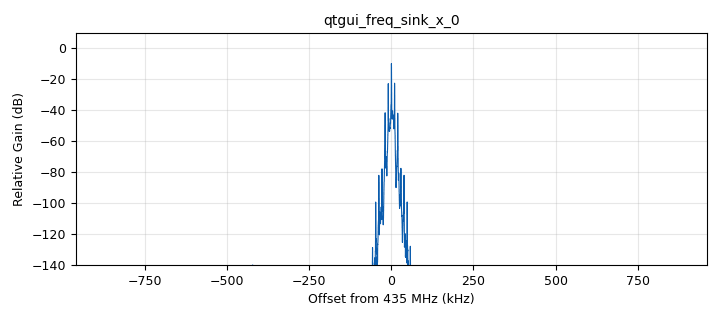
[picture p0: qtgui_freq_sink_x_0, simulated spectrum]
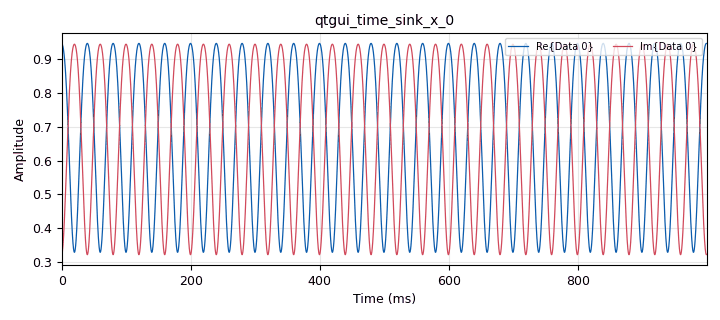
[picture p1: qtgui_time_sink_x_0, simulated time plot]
options:
  parameters:
    generate_options: qt_gui
    id: endurosat_e2e
    output_language: python
    title: Not titled yet
  states: {}

blocks:
- name: baud_bit
  id: variable
  parameters:
    value: '9600'
  states: {}
- name: baud_byte
  id: variable
  parameters:
    value: baud_bit/8
  states: {}
- name: center_freq
  id: variable
  parameters:
    value: '435000000'
  states: {}
- name: fsk_dev
  id: variable
  parameters:
    value: '2400'
  states: {}
- name: rx_gain
  id: variable
  parameters:
    value: '20'
  states: {}
- name: sensitivity
  id: variable
  parameters:
    value: 2*3.14159*(fsk_dev/(baud_bit*spsym))
  states: {}
- name: spsym
  id: variable
  parameters:
    value: '100'
  states: {}
- name: tx_gain
  id: variable
  parameters:
    value: '1'
  states: {}
- name: blocks_message_strobe_0
  id: blocks_message_strobe
  parameters:
    msg: 'pmt.dict_add( pmt.make_dict(), pmt.to_pmt(''gpio''), pmt.to_pmt({''bank'':''FP0'', ''attr'':''ATR_TX'', ''value'': 1, ''mask'': ((1 << 11) - 1)}))'
    period: '10000'
  states: {}
- name: blocks_message_strobe_0_0
  id: blocks_message_strobe
  parameters:
    msg: 'pmt.dict_add( pmt.make_dict(), pmt.to_pmt(''gpio''), pmt.to_pmt({''bank'':''FP0'', ''attr'':''CTRL'', ''value'': 1, ''mask'': ((1 << 11) - 1)}))'
    period: '7000'
  states: {}
- name: blocks_message_strobe_0_0_0
  id: blocks_message_strobe
  parameters:
    msg: 'pmt.dict_add( pmt.make_dict(), pmt.to_pmt(''gpio''), pmt.to_pmt({''bank'':''FP0'', ''attr'':''DDR'', ''value'': 1, ''mask'': ((1 << 11) - 1)}))'
    period: '8500'
  states: {}
- name: blocks_message_strobe_0_0_0_0
  id: blocks_message_strobe
  parameters:
    msg: 'pmt.dict_add( pmt.make_dict(), pmt.to_pmt(''gpio''), pmt.to_pmt({''bank'':''FP0'', ''attr'':''OUT'', ''value'': 0, ''mask'': ((1 << 11) - 1)}))'
    period: '13305'
  states: {}
- name: blocks_vector_source_x_0
  id: blocks_vector_source_x
  parameters:
    repeat: 'True'
    type: byte
    vector: (1,0,1,0,1,0,1,0,1,0,1,0,1,0,1,0,1,0,1,0,1,0,1,0,1,0,1,0,1,0,1,0,1,0,1,0,1,0,1,0,1,0,1,0,1,0,1,0,1,0,1,0,1,0,1,0,1,0,1,0,1,0,1,0,1,0,1,0,1,0,1,0,1,0,1,0,1,0,1,0,0,1,1,1,1,1,1,0,0,0,0,0,0,0,1,0,0,1,0,0,0,1,0,1,0,1,0,1,0,0,1,1,0,0,1,1,1,0,1,0,0,1,0,1,0,0,1,1)
  states: {state: disabled}
- name: blocks_vector_source_x_0_0
  id: blocks_vector_source_x
  parameters:
    repeat: 'True'
    type: byte
    vector: (170, 170, 170, 170, 170, 170, 170, 170, 170, 170, 126, 2, 69, 83, 58, 83)
  states: {}
- name: digital_gfsk_mod_0
  id: digital_gfsk_mod
  parameters:
    bt: '0.5'
    samples_per_symbol: spsym
    sensitivity: sensitivity
  states: {}
- name: note_0_0
  id: note
  parameters:
    note: GFSK Mod input is packed bytes (eg. 0b01110000)
  states: {}
- name: note_0_0_0
  id: note
  parameters:
    note: Repeats 2 byte pipe mode frame
  states: {}
- name: note_0_0_1
  id: note
  parameters:
    note: Must have high sample rate for smooth sinusoid
  states: {}
- name: qtgui_freq_sink_x_0
  id: qtgui_freq_sink_x
  parameters:
    bw: 2*baud_bit*spsym
    fc: center_freq
    fftsize: 10*1024
    type: complex
  states: {}
- name: qtgui_time_sink_x_0
  id: qtgui_time_sink_x
  parameters:
    autoscale: 'True'
    size: spsym*50
    srate: spsym*50
    type: complex
    update_time: '1'
    ymax: '0.1'
    ymin: '-0.1'
  states: {}
- name: uhd_usrp_sink_0
  id: uhd_usrp_sink
  parameters:
    ant0: TX/RX
    center_freq0: center_freq
    dev_args: '""'
    gain0: tx_gain
    len_tag_name: ''
    samp_rate: baud_bit*spsym
    sync: pc_clock
    type: fc32
  states: {}

connections:
- [blocks_message_strobe_0, strobe, uhd_usrp_sink_0, command]
- [blocks_message_strobe_0_0, strobe, uhd_usrp_sink_0, command]
- [blocks_message_strobe_0_0_0, strobe, uhd_usrp_sink_0, command]
- [blocks_vector_source_x_0_0, '0', digital_gfsk_mod_0, '0']
- [digital_gfsk_mod_0, '0', qtgui_freq_sink_x_0, '0']
- [digital_gfsk_mod_0, '0', qtgui_time_sink_x_0, '0']
- [digital_gfsk_mod_0, '0', uhd_usrp_sink_0, '0']

metadata:
  file_format: 1
